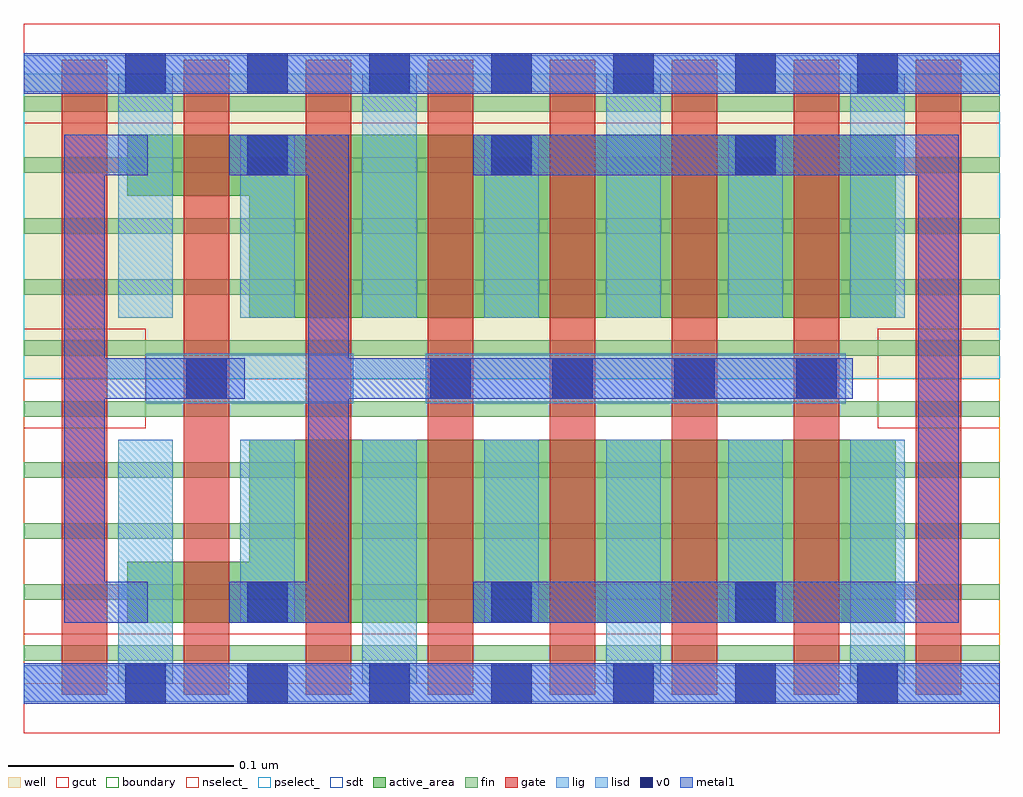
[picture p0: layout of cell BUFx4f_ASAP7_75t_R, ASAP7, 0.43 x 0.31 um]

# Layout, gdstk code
import gdstk
lib = gdstk.Library(unit=1e-6, precision=1e-09)
def R(c, l, rs):  # rectangles x0, y0, x1, y1
    for r in rs: c.add(gdstk.rectangle(r[:2], r[2:], *l))
def A(c, l, x, y, w, h, nx, ny, dx, dy):  # array of equal rectangles
    R(c, l, [(x+i*dx, y+j*dy, x+i*dx+w, y+j*dy+h) for i in range(nx) for j in range(ny)])
def P(c, l, *ps):  # polygons
    for p in ps: c.add(gdstk.Polygon(p, *l))
well = (1, 0)
fin = (2, 0)
gate = (7, 0)
gcut = (10, 0)
active_area = (11, 0)
nselect_ = (12, 0)
pselect_ = (13, 0)
lig = (16, 0)
lisd = (17, 0)
v0 = (18, 0)
metal1 = (19, 0)
sdt = (88, 0)
boundary = (100, 0)

bufx4f_asap7_75t_r = lib.new_cell('BUFx4f_ASAP7_75t_R')
R(bufx4f_asap7_75t_r, well, [(0,0.135,0.432,0.27)])
A(bufx4f_asap7_75t_r, fin, 0, 0.01, 0.432, 0.007, 1, 10, 0, 0.027)
A(bufx4f_asap7_75t_r, gate, 0.017, -0.005, 0.02, 0.281, 8, 1, 0.054, 0)
R(bufx4f_asap7_75t_r, gcut, [(0,-0.022,0.432,0.022), (0,0.113,0.054,0.157), (0.378,0.113,0.432,0.157), (0,0.248,0.432,0.292)])
P(bufx4f_asap7_75t_r, active_area, [(0.1,0.162),(0.1,0.216),(0.046,0.216),(0.046,0.243),(0.386,0.243),(0.386,0.162)],
  [(0.046,0.027),(0.046,0.054),(0.1,0.054),(0.1,0.108),(0.386,0.108),(0.386,0.027)])
R(bufx4f_asap7_75t_r, nselect_, [(0,0,0.432,0.135)])
R(bufx4f_asap7_75t_r, pselect_, [(0,0.135,0.432,0.27)])
R(bufx4f_asap7_75t_r, lig, [(0,-0.008,0.432,0.008), (0.054,0.124,0.146,0.146), (0.178,0.124,0.364,0.146), (0,0.262,0.432,0.278)])
A(bufx4f_asap7_75t_r, lisd, 0.042, 0, 0.024, 0.108, 4, 2, 0.108, 0.162)
A(bufx4f_asap7_75t_r, lisd, 0.096, 0.027, 0.024, 0.081, 3, 2, 0.108, 0.135)
A(bufx4f_asap7_75t_r, v0, 0.045, -0.009, 0.018, 0.018, 7, 2, 0.054, 0.27)
A(bufx4f_asap7_75t_r, v0, 0.099, 0.027, 0.018, 0.018, 3, 2, 0.108, 0.198)
A(bufx4f_asap7_75t_r, v0, 0.18, 0.126, 0.018, 0.018, 4, 1, 0.054, 0)
R(bufx4f_asap7_75t_r, v0, [(0.072,0.126,0.09,0.144)])
R(bufx4f_asap7_75t_r, metal1, [(0,-0.009,0.432,0.009), (0,0.261,0.432,0.279)])
P(bufx4f_asap7_75t_r, metal1, [(0.018,0.027),(0.018,0.243),(0.055,0.243),(0.055,0.225),(0.036,0.225),(0.036,0.144),(0.098,0.144),(0.098,0.126),(0.036,0.126),(0.036,0.045),(0.055,0.045),(0.055,0.027)],
  [(0.091,0.027),(0.091,0.045),(0.126,0.045),(0.126,0.225),(0.091,0.225),(0.091,0.243),(0.144,0.243),(0.144,0.144),(0.367,0.144),(0.367,0.126),(0.144,0.126),(0.144,0.027)],
  [(0.199,0.027),(0.199,0.045),(0.396,0.045),(0.396,0.225),(0.199,0.225),(0.199,0.243),(0.414,0.243),(0.414,0.027)])
A(bufx4f_asap7_75t_r, sdt, 0.042, 0.027, 0.024, 0.081, 7, 2, 0.054, 0.135)
R(bufx4f_asap7_75t_r, boundary, [(0,0,0.432,0.27)])

lib.write_gds('BUFx4f_ASAP7_75t_R.gds')
